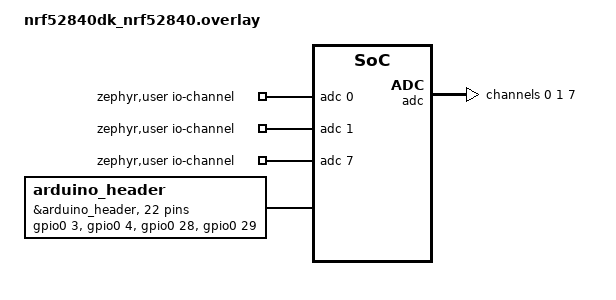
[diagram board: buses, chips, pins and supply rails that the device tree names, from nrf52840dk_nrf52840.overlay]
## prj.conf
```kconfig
CONFIG_ADC=y
CONFIG_SPI=y
CONFIG_NRFX_SPIM1=y
```

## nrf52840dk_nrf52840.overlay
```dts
// To get started, press Ctrl+Space (or Option+Esc) to bring up the completion menu and view the available nodes.

// You can also use the buttons in the sidebar to perform actions on nodes.
// Actions currently available include:

// * Enabling / disabling the node
// * Adding the bus to a bus
// * Removing the node
// * Connecting ADC channels

// For more help, browse the DeviceTree documentation at https://docs.zephyrproject.org/latest/guides/dts/index.html
// You can also visit the nRF DeviceTree extension documentation at https://nrfconnect.github.io/vscode-nrf-connect/devicetree/nrfdevicetree.html


 
    / {
        zephyr,user {
            io-channels = <&adc 0>, <&adc 1>, <&adc 7>;
        };
    };
    
    &adc {
        #address-cells = <1>;
        #size-cells = <0>;
    
        channel@0 {
            reg = <0>;
            zephyr,gain = "ADC_GAIN_1_6";
            zephyr,reference = "ADC_REF_INTERNAL";
            zephyr,acquisition-time = <ADC_ACQ_TIME_DEFAULT>;
            zephyr,input-positive = <NRF_SAADC_AIN1>; /* P0.03 */
            zephyr,resolution = <12>;
        };
    
        channel@1 {
            reg = <1>;
            zephyr,gain = "ADC_GAIN_1_6";
            zephyr,reference = "ADC_REF_INTERNAL";
            zephyr,acquisition-time = <ADC_ACQ_TIME_DEFAULT>;
            zephyr,input-positive = <NRF_SAADC_VDD>;
            zephyr,resolution = <14>;
            zephyr,oversampling = <8>;
        };
    
        channel@7 {
            reg = <7>;
            zephyr,gain = "ADC_GAIN_1_5";
            zephyr,reference = "ADC_REF_VDD_1_4";
            zephyr,vref-mv = <750>;
            zephyr,acquisition-time = <ADC_ACQ_TIME_DEFAULT>;
            zephyr,input-positive = <NRF_SAADC_AIN6>; /* P0.30 */
            zephyr,input-negative = <NRF_SAADC_AIN7>; /* P0.31 */
            zephyr,resolution = <12>;
        };
    };

    &arduino_adc {
        io-channel-map = <0 &adc 1>, <1 &adc 2>, <2 &adc 4>, <3 &adc 5>, <4 &adc 6>, <5 &adc 7>;
    };
    
    &arduino_header {
        gpio-map = <0 0 &gpio0 3 0>,
                   <1 0 &gpio0 4 0>,
                   <2 0 &gpio0 28 0>,
                   <3 0 &gpio0 29 0>,
                   <4 0 &gpio0 30 0>,
                   <5 0 &gpio0 31 0>,
                   <6 0 &gpio1 1 0>,
                   <7 0 &gpio1 2 0>,
                   <8 0 &gpio1 3 0>,
                   <9 0 &gpio1 4 0>,
                   <10 0 &gpio1 5 0>,
                   <11 0 &gpio1 6 0>,
                   <12 0 &gpio1 7 0>,
                   <13 0 &gpio1 8 0>,
                   <14 0 &gpio1 10 0>,
                   <15 0 &gpio1 11 0>,
                   <16 0 &gpio1 12 0>,
                   <17 0 &gpio1 13 0>,
                   <18 0 &gpio1 14 0>,
                   <19 0 &gpio1 15 0>,
                   <20 0 &gpio0 26 0>,
                   <21 0 &gpio0 27 0>;
    };
```

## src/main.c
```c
#include <zephyr/kernel.h>
#include <zephyr/device.h>
#include <zephyr/devicetree.h>
#include <zephyr/drivers/gpio.h>
#include <zephyr/drivers/adc.h>
#include <nrfx_spim.h>
//#include <zephyr/dt-bindings/adc/adc.h>
#include "SEGGER_RTT.h"
//#include "/opt/nordic/ncs/v2.5.0/modules/debug/segger/SEGGER/SEGGER_RTT.h"


/* 1000 msec = 1 sec */
#define SLEEP_TIME_MS   1000

/* The devicetree node identifier for the "led0" alias. */
#define LED0_NODE DT_ALIAS(led0)
#define LED1_NODE DT_ALIAS(led1)

#define SW0_NODE	DT_ALIAS(sw0)
/*
 * A build error on this line means your board is unsupported.
 * See the sample documentation for information on how to fix this.
 */
static const struct gpio_dt_spec led = GPIO_DT_SPEC_GET(LED0_NODE, gpios);
static const struct gpio_dt_spec led2 = GPIO_DT_SPEC_GET(LED1_NODE, gpios);

#define DT_SPEC_AND_COMMA(node_id, prop, idx) \
	ADC_DT_SPEC_GET_BY_IDX(node_id, idx),

/* Data of ADC io-channels specified in devicetree. */
static const struct adc_dt_spec adc_channels[] = {
	DT_FOREACH_PROP_ELEM(DT_PATH(zephyr_user), io_channels,
			     DT_SPEC_AND_COMMA)
};
static const struct gpio_dt_spec button = GPIO_DT_SPEC_GET_OR(SW0_NODE, gpios,{0});
static struct gpio_callback button_cb_data;

/** @brief Symbol specifying SPIM instance to be used. */
#define SPIM_INST_IDX 1

/** @brief Symbol specifying pin number for MOSI. */
#define MOSI_PIN 30

/** @brief Symbol specifying pin number for MISO. */
#define MISO_PIN 31

/** @brief Symbol specifying pin number for SCK. */
#define SCK_PIN 29

/** @brief Symbol specifying message to be sent via SPIM data transfer. */
#define MSG_TO_SEND "Nordic Semiconductor"

/** @brief Transmit buffer initialized with the specified message ( @ref MSG_TO_SEND ). */
static uint8_t m_tx_buffer[] = MSG_TO_SEND;

/** @brief Receive buffer defined with the size to store specified message ( @ref MSG_TO_SEND ). */
static uint8_t m_rx_buffer[sizeof(MSG_TO_SEND)];


#if 1
	int16_t buf;
	struct adc_sequence sequence = {
		.buffer = &buf,
		/* buffer size in bytes, not number of samples */
		.buffer_size = sizeof(buf),
                .resolution = 8,
	};
 #endif       
void button_pressed(const struct device *dev, struct gpio_callback *cb,
		    uint32_t pins)
{
	int ret;
	printk("Button pressed at %" PRIu32 "\n", k_cycle_get_32());
	ret = gpio_pin_toggle_dt(&led);
	if (ret < 0) {
		//return 0;
	}	

}
uint32_t data;
int main(void)
{
	int ret;

	if (!gpio_is_ready_dt(&led)) {
		return 0;
	}
        adc_is_ready_dt(&adc_channels[0]);
        adc_channel_setup_dt(&adc_channels[0]);

	ret = gpio_pin_configure_dt(&led, GPIO_OUTPUT_INACTIVE);
	ret = gpio_pin_configure_dt(&led2, GPIO_OUTPUT_INACTIVE);

	if (ret < 0) {
		return 0;
	}
	gpio_pin_configure_dt(&button, GPIO_INPUT);
	gpio_pin_interrupt_configure_dt(&button, GPIO_INT_EDGE_TO_ACTIVE);
	gpio_init_callback(&button_cb_data, button_pressed, BIT(button.pin));
	gpio_add_callback(button.port, &button_cb_data);

        //sequence.channels = BIT(0); // ADC 채널 설정, 여기서는 0번 채널 사용
        //sequence.buffer = &adc_raw_value;
        //sequence.buffer_size = sizeof(adc_raw_value);
        //sequence.resolution = 12; // ADC 해상도 설정 (예: 12비트)
        //adc_sequence_init(&sequence);
        //adc_sequence_init_dt(adc_dev, &sequence);
    nrfx_spim_t spim_inst ;//= NRFX_SPIM_INSTANCE(SPIM_INST_IDX);
	spim_inst.drv_inst_idx = 1;
	spim_inst.p_reg = 0x40003000;

    nrfx_spim_config_t spim_config = NRFX_SPIM_DEFAULT_CONFIG(SCK_PIN,
                                                              MOSI_PIN,
                                                              MISO_PIN,
                                                              NRF_SPIM_PIN_NOT_CONNECTED);

	nrfx_spim_init(&spim_inst, &spim_config, NULL, NULL);
    NRFX_ASSERT(status == NRFX_SUCCESS);

    nrfx_spim_xfer_desc_t spim_xfer_desc = NRFX_SPIM_XFER_TRX(m_tx_buffer, sizeof(m_tx_buffer),
                                                              m_rx_buffer, sizeof(m_rx_buffer));

	

	while (1) {

		k_msleep(SLEEP_TIME_MS);
		printk("test : %d\n",buf);
		//SEGGER_RTT_Write(unsigned BufferIndex, const void* pBuffer, unsigned NumBytes);
		SEGGER_RTT_WriteString(0, "test");
                //SEGGER_RTT_printf(0,"daa");
		gpio_pin_toggle_dt(&led2);
                adc_sequence_init_dt(&adc_channels[0], &sequence);
                adc_read(adc_channels[0].dev, &sequence);
                data++;
				nrfx_spim_xfer(&spim_inst, &spim_xfer_desc, 0);
	}
	return 0;
}
```
